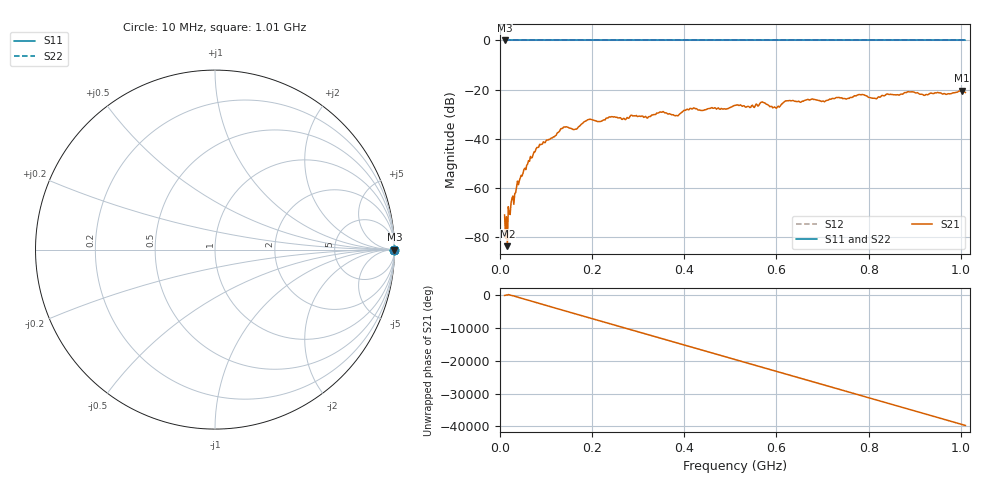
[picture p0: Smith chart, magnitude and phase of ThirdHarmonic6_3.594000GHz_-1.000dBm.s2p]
! 8/17/2025 11:58:04 AM
! C:\ANRITSUVNA\TEMP\TEMP.S2P
! CHANNEL.1
! TR.MEASUREMENT
! RAW.DATA
! RF.CORRECTION.OFF
! AVERAGING.OFF
! IF.BANDWIDTH: 5KHZ
! SWEEPTYPE:  FREQ.SWEEP(Linear)
! Reference Plane Port Info
! PORT:  PORT1  PORT2
! DISTANCE:  0  m  0  m
! TIME:  0  s  0  s
! PHASE.OFFSET:  0  deg.  0  deg.
! LOSS:  0  dB  0  dB
! REF.LOSS:  0  dB  0  dB
! REF.FREQ:  0  Hz  0  Hz
! Power Info
! POWER:  -20  dBm  -20  dBm
! EFF.POWER:  -20  dBm  -20  dBm
! SOURCE.ATTEN:  0  dB  0  dB
! TEST.ATTEN:  0  dB  0  dB
# GHZ S RI R 50.0
! FREQ.GHZ  S11RE  S11IM  S21RE  S21IM  S12RE  S12IM  S22RE  S22IM
!; PortSelection: Port_12
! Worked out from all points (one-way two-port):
!   501 points, 10 MHz to 1.01 GHz, reference 50 ohm
!   highest |S21| = -20.42 dB at 1.002 GHz (marker M1); lowest = -83.6 dB at 16 MHz (marker M2)
!   lowest |S11| = 0.0 dB at 10 MHz (marker M3)
!   |S11| at or under -10 dB: nowhere
!   |S22| runs from 0.0 to 0.0 dB; largest |S21 - S12| = 1.1
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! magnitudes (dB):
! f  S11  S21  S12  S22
! 10 MHz  0.0  -71.0  0.0  0.0
! 12 MHz  0.0  -80.3  0.0  0.0
! 16 MHz  0.0  -83.6  0.0  0.0
! 22 MHz  0.0  -70.8  0.0  0.0
! 42 MHz  0.0  -57.0  0.0  0.0
! 82 MHz  0.0  -43.5  0.0  0.0
! 136 MHz  0.0  -35.7  0.0  0.0
! 164 MHz  0.0  -36.0  0.0  0.0
! 178 MHz  0.0  -33.9  0.0  0.0
! 344 MHz  0.0  -29.5  0.0  0.0
! 384 MHz  0.0  -30.5  0.0  0.0
! 416 MHz  0.0  -27.9  0.0  0.0
! 510 MHz  0.0  -26.4  0.0  0.0
! 570 MHz  0.0  -25.0  0.0  0.0
! 596 MHz  0.0  -27.0  0.0  0.0
! 622 MHz  0.0  -24.6  0.0  0.0
! 678 MHz  0.0  -23.8  0.0  0.0
! 782 MHz  0.0  -22.0  0.0  0.0
! 814 MHz  0.0  -23.5  0.0  0.0
! 844 MHz  0.0  -21.9  0.0  0.0
! 1.002 GHz  0.0  -20.4  0.0  0.0
! 1.01 GHz  0.0  -21.1  0.0  0.0
